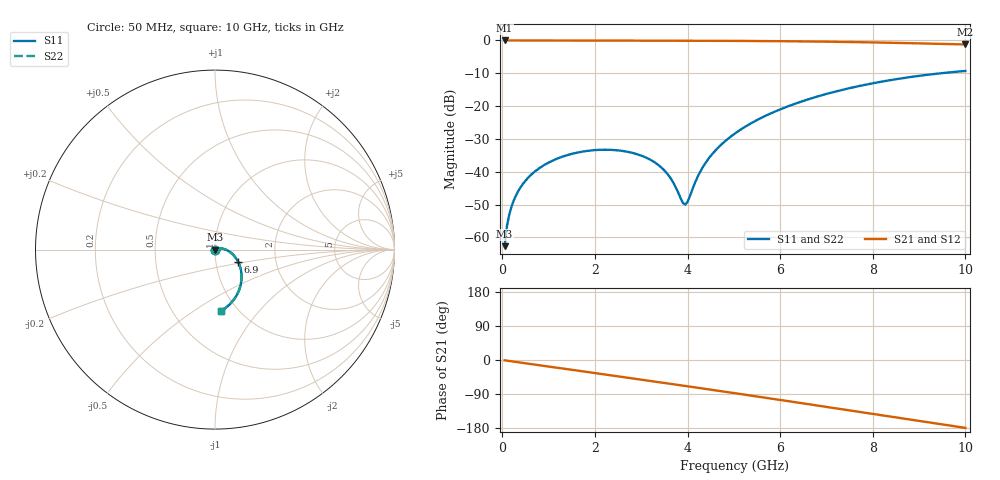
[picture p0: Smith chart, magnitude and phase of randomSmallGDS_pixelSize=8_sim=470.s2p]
! freq	dB(S11)	phase(S11)	dB(S12)	phase(S12)
!  dB(S21)	phase(S21)	dB(S22)	phase(S22)
!S-par simulation data
#  GHz  S  DB  R 50
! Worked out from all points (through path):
!   200 points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, 50 MHz to 10 GHz, reference 50 ohm
!   highest |S21| = 0.00 dB at 50 MHz (marker M1); lowest = -1.2 dB at 10 GHz (marker M2)
!   group delay of S21, straight-line fit = 49.9 ps
!   lowest |S11| = -62.7 dB at 50 MHz (marker M3), VSWR 1.00, Z = 50 - j0.0736 ohm
!   |S11| at or under -10 dB: start of sweep to 9.464 GHz
!   |S22| runs from -62.7 to -9.3 dB; largest |S21 - S12| = 0
!   S11 on the Smith chart (normalised r, x): 50 MHz: 1.00, -0.00; 6.9 GHz: 1.28, -0.18; 10 GHz: 0.84, -0.65
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0.05  -62.66 -89.0  -0.00 -0.9  -0.00 -0.9  -62.66 -89.0
0.1  -56.62 -91.1  -0.00 -1.7  -0.00 -1.7  -56.62 -91.2
0.2  -50.58 -93.6  -0.00 -3.5  -0.00 -3.5  -50.58 -93.6
0.35  -45.75 -96.5  -0.01 -6.1  -0.01 -6.1  -45.75 -96.5
0.5  -42.72 -99.3  -0.01 -8.7  -0.01 -8.7  -42.72 -99.3
1  -37.19 -108.6  -0.02 -17.3  -0.02 -17.3  -37.19 -108.6
1.75  -33.82 -122.7  -0.04 -30.2  -0.04 -30.2  -33.82 -122.7
2.7  -33.90 -141.6  -0.05 -46.6  -0.05 -46.6  -33.90 -141.6
3.1  -35.65 -151.0  -0.06 -53.6  -0.06 -53.6  -35.65 -151.0
3.4  -38.28 -160.5  -0.07 -58.8  -0.07 -58.8  -38.28 -160.4
3.65  -42.31 -174.2  -0.08 -63.2  -0.08 -63.2  -42.31 -174.0
3.9  -49.48 135.8  -0.08 -67.6  -0.08 -67.6  -49.53 136.1
3.95  -50.01 112.4  -0.09 -68.5  -0.09 -68.5  -50.08 112.5
4.25  -40.63 38.8  -0.10 -73.8  -0.10 -73.8  -40.65 38.6
4.4  -37.07 29.2  -0.10 -76.4  -0.10 -76.4  -37.08 29.1
4.7  -32.10 18.1  -0.12 -81.8  -0.12 -81.8  -32.11 18.1
5.05  -28.07 9.1  -0.14 -88.1  -0.14 -88.1  -28.08 9.0
5.75  -22.52 -5.8  -0.19 -100.8  -0.19 -100.8  -22.53 -5.8
6.7  -17.52 -24.3  -0.32 -118.3  -0.32 -118.3  -17.52 -24.3
6.9  -16.68 -28.1  -0.35 -122.0  -0.35 -122.0  -16.68 -28.1
8.35  -12.15 -55.0  -0.69 -148.9  -0.69 -148.9  -12.15 -55.1
10  -9.29 -84.5  -1.22 -179.2  -1.22 -179.2  -9.29 -84.5
